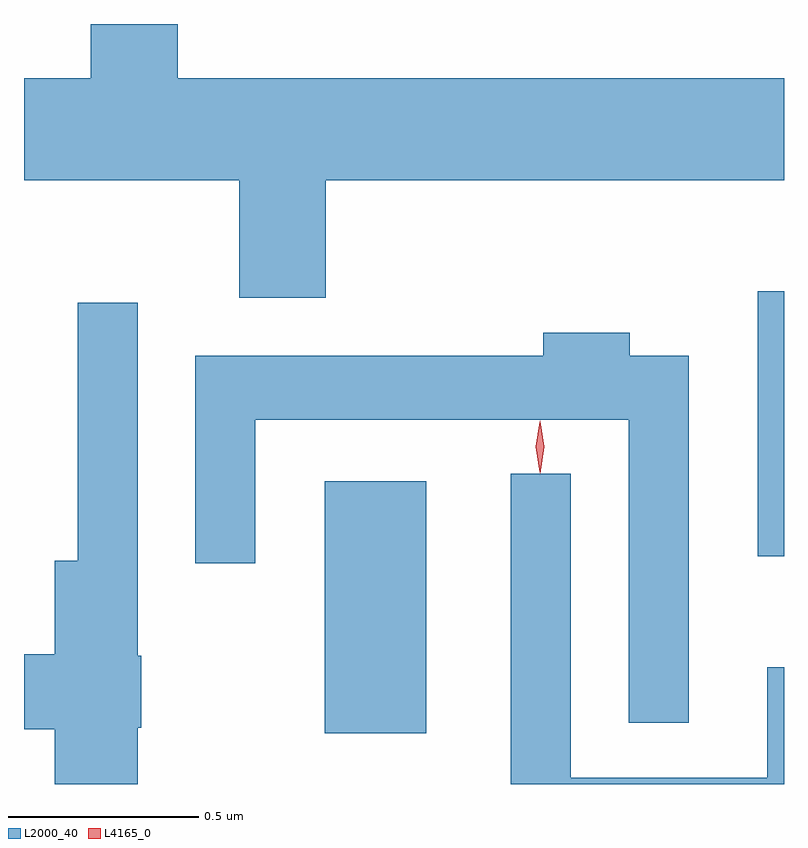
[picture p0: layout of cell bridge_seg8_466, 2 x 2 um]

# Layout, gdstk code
import gdstk
lib = gdstk.Library(unit=1e-6, precision=1e-09)
def R(c, l, rs):  # rectangles x0, y0, x1, y1
    for r in rs: c.add(gdstk.rectangle(r[:2], r[2:], *l))
def P(c, l, *ps):  # polygons
    for p in ps: c.add(gdstk.Polygon(p, *l))
L2000_40 = (2000, 40)
L4165_0 = (4165, 0)

bridge_seg8_466 = lib.new_cell('bridge_seg8_466')
R(bridge_seg8_466, L2000_40, [(544.936,1932.641,545.204,1933.304), (546.076,1933.106,546.145,1933.804)])
P(bridge_seg8_466, L2000_40, [(544.939,1934.096),(546.145,1934.096),(546.145,1934.364),(544.549,1934.364),(544.549,1934.507),(544.321,1934.507),(544.321,1934.364),(544.145,1934.364),(544.145,1934.096),(544.711,1934.096),(544.711,1933.786),(544.939,1933.786)],
  [(544.444,1932.655),(544.454,1932.655),(544.454,1932.845),(544.444,1932.845),(544.444,1933.773),(544.286,1933.773),(544.286,1933.094),(544.226,1933.094),(544.226,1932.849),(544.145,1932.849),(544.145,1932.651),(544.226,1932.651),(544.226,1932.507),(544.444,1932.507)],
  [(545.894,1933.634),(545.739,1933.634),(545.739,1933.694),(545.511,1933.694),(545.511,1933.634),(544.596,1933.634),(544.596,1933.088),(544.754,1933.088),(544.754,1933.466),(545.736,1933.466),(545.736,1932.668),(545.894,1932.668)],
  [(546.145,1932.814),(546.101,1932.814),(546.101,1932.524),(545.584,1932.524),(545.584,1933.323),(545.426,1933.323),(545.426,1932.507),(546.145,1932.507)])
P(bridge_seg8_466, L4165_0, [(545.503,1933.324),(545.494,1933.394),(545.503,1933.462),(545.504,1933.463),(545.504,1933.462),(545.514,1933.394),(545.504,1933.324),(545.504,1933.324)],
  [(545.502,1933.327),(545.502,1933.327),(545.492,1933.394),(545.502,1933.46),(545.502,1933.46),(545.503,1933.46),(545.512,1933.394),(545.503,1933.327)])

lib.write_gds('bridge_seg8_466.gds')
